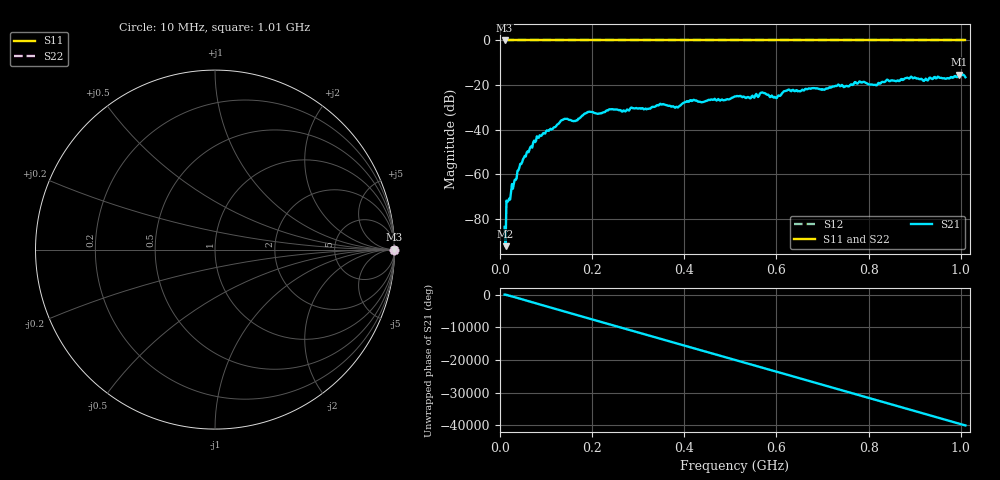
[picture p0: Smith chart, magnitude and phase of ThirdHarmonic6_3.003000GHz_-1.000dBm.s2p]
! 8/17/2025 8:35:38 AM
! C:\ANRITSUVNA\TEMP\TEMP.S2P
! CHANNEL.1
! TR.MEASUREMENT
! RAW.DATA
! RF.CORRECTION.OFF
! AVERAGING.OFF
! IF.BANDWIDTH: 5KHZ
! SWEEPTYPE:  FREQ.SWEEP(Linear)
! Reference Plane Port Info
! PORT:  PORT1  PORT2
! DISTANCE:  0  m  0  m
! TIME:  0  s  0  s
! PHASE.OFFSET:  0  deg.  0  deg.
! LOSS:  0  dB  0  dB
! REF.LOSS:  0  dB  0  dB
! REF.FREQ:  0  Hz  0  Hz
! Power Info
! POWER:  -20  dBm  -20  dBm
! EFF.POWER:  -20  dBm  -20  dBm
! SOURCE.ATTEN:  0  dB  0  dB
! TEST.ATTEN:  0  dB  0  dB
# GHZ S RI R 50.0
! FREQ.GHZ  S11RE  S11IM  S21RE  S21IM  S12RE  S12IM  S22RE  S22IM
!; PortSelection: Port_12
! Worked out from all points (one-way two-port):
!   501 points, 10 MHz to 1.01 GHz, reference 50 ohm
!   highest |S21| = -15.25 dB at 996 MHz (marker M1); lowest = -92.1 dB at 12 MHz (marker M2)
!   lowest |S11| = 0.0 dB at 10 MHz (marker M3)
!   |S11| at or under -10 dB: nowhere
!   |S22| runs from 0.0 to 0.0 dB; largest |S21 - S12| = 1.2
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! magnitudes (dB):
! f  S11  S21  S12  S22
! 10 MHz  0.0  -83.5  0.0  0.0
! 12 MHz  0.0  -92.1  0.0  0.0
! 42 MHz  0.0  -56.9  0.0  0.0
! 76 MHz  0.0  -45.5  0.0  0.0
! 136 MHz  0.0  -35.6  0.0  0.0
! 164 MHz  0.0  -36.1  0.0  0.0
! 178 MHz  0.0  -33.7  0.0  0.0
! 194 MHz  0.0  -31.9  0.0  0.0
! 322 MHz  0.0  -30.6  0.0  0.0
! 344 MHz  0.0  -29.1  0.0  0.0
! 384 MHz  0.0  -29.8  0.0  0.0
! 416 MHz  0.0  -27.1  0.0  0.0
! 510 MHz  0.0  -25.1  0.0  0.0
! 570 MHz  0.0  -23.3  0.0  0.0
! 598 MHz  0.0  -25.5  0.0  0.0
! 624 MHz  0.0  -22.2  0.0  0.0
! 678 MHz  0.0  -21.4  0.0  0.0
! 784 MHz  0.0  -18.8  0.0  0.0
! 814 MHz  0.0  -19.8  0.0  0.0
! 844 MHz  0.0  -18.2  0.0  0.0
! 996 MHz  0.0  -15.3  0.0  0.0
! 1.01 GHz  0.0  -16.5  0.0  0.0
